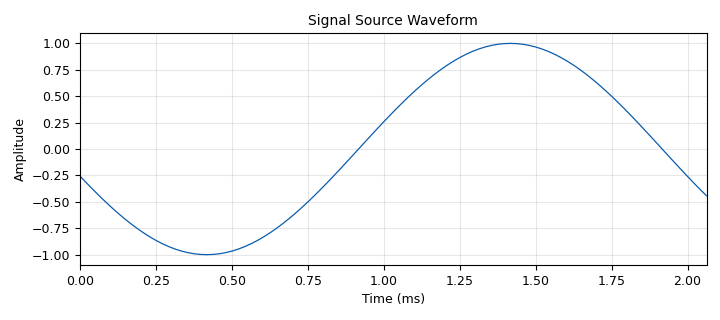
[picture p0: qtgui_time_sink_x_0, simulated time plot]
options:
  parameters:
    generate_options: qt_gui
    id: Continious_discrete_time_signals
    output_language: python
    title: Continous and Discrete time Signals
  states: {}

blocks:
- name: samp_rate
  id: variable
  parameters:
    value: '48000'
  states: {}
- name: signal_freq
  id: variable_qtgui_range
  parameters:
    label: Signal Frequency
    start: '500'
    step: '100'
    stop: 2e3
    value: '500'
  states: {}
- name: analog_sig_source_x_0
  id: analog_sig_source_x
  parameters:
    amp: '1'
    freq: signal_freq
    offset: '0'
    phase: '0'
    samp_rate: samp_rate
    type: float
    waveform: analog.GR_COS_WAVE
  states: {}
- name: audio_sink_0
  id: audio_sink
  parameters:
    samp_rate: samp_rate
  states: {}
- name: qtgui_time_sink_x_0
  id: qtgui_time_sink_x
  parameters:
    autoscale: 'True'
    ctrlpanel: 'True'
    grid: 'True'
    name: Signal Source Waveform
    size: '100'
    srate: samp_rate
    type: float
  states: {}

connections:
- [analog_sig_source_x_0, '0', audio_sink_0, '0']
- [analog_sig_source_x_0, '0', qtgui_time_sink_x_0, '0']

metadata:
  file_format: 1
  grc_version: 3.10.12.0
